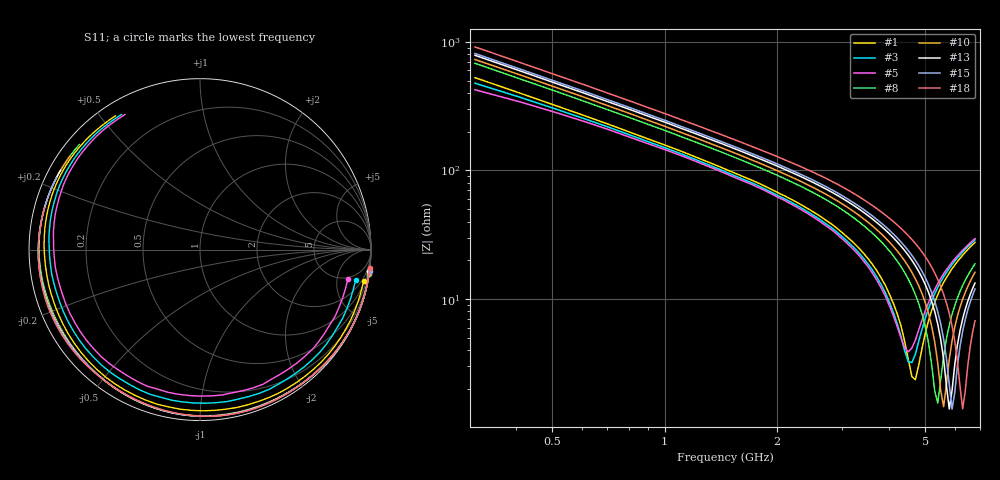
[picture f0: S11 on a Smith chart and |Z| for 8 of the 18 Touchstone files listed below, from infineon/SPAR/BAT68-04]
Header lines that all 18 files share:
! Infineon Technologies  Discrete & RF Semiconductors
! BAT68-04
! One-Port S-Parameters
# Hz  S  MA  R  50
!f  S11
!Hz  Mag  Ang
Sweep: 309.9 MHz to 6.807 GHz
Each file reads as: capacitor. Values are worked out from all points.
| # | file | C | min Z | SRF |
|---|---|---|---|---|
| 1 | BAT68-04_IAC_0.01mA.s1p | 971 fF | 2.36 ohm | 4.667 GHz |
| 2 | BAT68-04_IAC_0.02mA.s1p | 1.02 pF | 2.74 ohm | 4.597 GHz |
| 3 | BAT68-04_IAC_0.03mA.s1p | 1.08 pF | 3.21 ohm | 4.556 GHz |
| 4 | BAT68-04_IAC_0.04mA.s1p | 1.16 pF | 3.53 ohm | 4.523 GHz |
| 5 | BAT68-04_IAC_0.05mA.s1p | 1.25 pF | 3.88 ohm | 4.497 GHz |
| 6 | BAT68-04_IAC_0.06mA.s1p | 1.37 pF | 4.25 ohm | 4.473 GHz |
| 7 | BAT68-04_VCA_0.1V.s1p | 786 fF | 1.7 ohm | 5.251 GHz |
| 8 | BAT68-04_VCA_0.2V.s1p | 749 fF | 1.55 ohm | 5.384 GHz |
| 9 | BAT68-04_VCA_0.3V.s1p | 721 fF | 1.46 ohm | 5.498 GHz |
| 10 | BAT68-04_VCA_0.4V.s1p | 698 fF | 1.45 ohm | 5.594 GHz |
| 11 | BAT68-04_VCA_0.5V.s1p | 679 fF | 1.47 ohm | 5.678 GHz |
| 12 | BAT68-04_VCA_0.6V.s1p | 663 fF | 1.53 ohm | 5.751 GHz |
| 13 | BAT68-04_VCA_0.7V.s1p | 650 fF | 1.39 ohm | 5.816 GHz |
| 14 | BAT68-04_VCA_0.8V.s1p | 639 fF | 1.49 ohm | 5.871 GHz |
| 15 | BAT68-04_VCA_0.9V.s1p | 629 fF | 1.39 ohm | 5.919 GHz |
| 16 | BAT68-04_VCA_1V.s1p | 620 fF | 1.53 ohm | 5.963 GHz |
| 17 | BAT68-04_VCA_2V.s1p | 577 fF | 1.38 ohm | 6.207 GHz |
| 18 | BAT68-04_VCA_3V.s1p | 559 fF | 1.4 ohm | 6.316 GHz |
